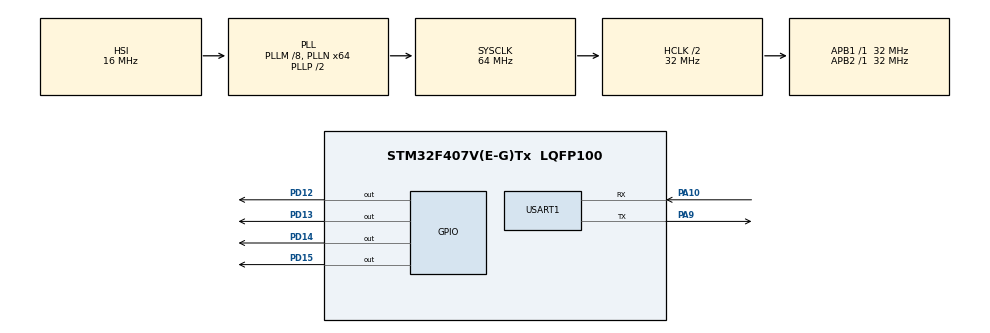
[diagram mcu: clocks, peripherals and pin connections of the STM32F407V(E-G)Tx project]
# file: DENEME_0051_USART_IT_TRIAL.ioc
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Mcu.Family=STM32F4
RCC.CortexFreq_Value=32000000
PA10.Mode=Asynchronous
RCC.SYSCLKSource=RCC_SYSCLKSOURCE_PLLCLK
ProjectManager.StackSize=0x400
PA13.Signal=SYS_JTMS-SWDIO
PD13.Signal=GPIO_Output
PA9.Mode=Asynchronous
ProjectManager.TargetToolchain=STM32CubeIDE
RCC.HCLKFreq_Value=32000000
RCC.APB2TimFreq_Value=32000000
PA9.Signal=USART1_TX
RCC.LSE_VALUE=32768
RCC.AHBFreq_Value=32000000
RCC.HSE_VALUE=25000000
board=custom
RCC.VCOOutputFreq_Value=128000000
RCC.APB2Freq_Value=32000000
PA14.Mode=Serial_Wire
RCC.AHBCLKDivider=RCC_SYSCLK_DIV2
PA13.Mode=Serial_Wire
Mcu.Name=STM32F407V(E-G)Tx
PD14.Signal=GPIO_Output
RCC.48MHZClocksFreq_Value=32000000
RCC.SYSCLKFreq_VALUE=64000000
Mcu.Package=LQFP100
PD12.Signal=GPIO_Output
USART1.VirtualMode=VM_ASYNC
PA10.Signal=USART1_RX
PA14.Signal=SYS_JTCK-SWCLK
ProjectManager.HeapSize=0x200
RCC.HSI_VALUE=16000000
NVIC.PriorityGroup=NVIC_PRIORITYGROUP_4
RCC.PLLM=8
RCC.PLLN=64
RCC.APB1TimFreq_Value=32000000
NVIC.USART1_IRQn=true\:4\:0\:true\:false\:true\:true\:true
RCC.APB1Freq_Value=32000000
PD15.Signal=GPIO_Output

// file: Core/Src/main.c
/* USER CODE BEGIN Header */
/**
  ******************************************************************************
  * @file           : main.c
  * @brief          : Main program body
  ******************************************************************************
  * @attention
  *
  * <h2><center>&copy; Copyright (c) 2022 STMicroelectronics.
  * All rights reserved.</center></h2>
  *
  * This software component is licensed by ST under BSD 3-Clause license,
  * the "License"; You may not use this file except in compliance with the
  * License. You may obtain a copy of the License at:
  *                        opensource.org/licenses/BSD-3-Clause
  *
  ******************************************************************************
  */
/* USER CODE END Header */
#include "main.h"

UART_HandleTypeDef huart1;

/* USER CODE BEGIN PV */
uint8_t rxTempBuffer[10];
uint8_t rxBuffer[100];
uint8_t rxCount = 0;

/* USER CODE END PV */

void SystemClock_Config(void);
static void MX_GPIO_Init(void);
static void MX_USART1_UART_Init(void);

/* USER CODE BEGIN 0 */
uint8_t i = 2 ;

__weak void HAL_UART_RxCpltCallback(UART_HandleTypeDef *huart)
{
	if(huart == &huart1)
	{
		rxBuffer[rxCount] = rxTempBuffer[0];
		rxCount++;
		HAL_UART_Receive_IT(&huart1, rxTempBuffer, 1);

		if ((rxBuffer[i] == 'l' ) && (rxBuffer[i-1] == 'i') && (rxBuffer[i-2] == 's'))
		{
			for(uint8_t temp = 0 ; i < sizeof(rxBuffer) ; temp++)
			{
				rxBuffer[temp] = '\0';
			}
		}
		else
		{
			if(!(rxBuffer[0] == '\0'))
			{
				i++ ;
			}
		}
		for(uint8_t temp = 2 ; temp < sizeof(rxBuffer) ; temp++)
		{
			if ((rxBuffer[temp] == 'l' ) && (rxBuffer[temp - 1] == 'i') && (rxBuffer[temp - 2] == 's'))
			{
				for(int j = 0 ; j < rxCount ; j++ )
				{
					rxBuffer[j] = '\0' ;
				}
				i = 2;
				rxCount = 0 ;
			}
		}
	}
}
/* USER CODE END 0 */

int main(void)
{

  /* MCU Configuration--------------------------------------------------------*/

  /* Reset of all peripherals, Initializes the Flash interface and the Systick. */
  HAL_Init();

  /* Configure the system clock */
  SystemClock_Config();

  /* Initialize all configured peripherals */
  MX_GPIO_Init();
  MX_USART1_UART_Init();
  /* USER CODE BEGIN 2 */
  HAL_UART_Receive_IT(&huart1, rxTempBuffer, 1);
  /* USER CODE END 2 */

  /* Infinite loop */
  while (1)
  {

  }
}

void SystemClock_Config(void)
{
  RCC_OscInitTypeDef RCC_OscInitStruct = {0};
  RCC_ClkInitTypeDef RCC_ClkInitStruct = {0};

  /** Configure the main internal regulator output voltage
  */
  __HAL_RCC_PWR_CLK_ENABLE();
  __HAL_PWR_VOLTAGESCALING_CONFIG(PWR_REGULATOR_VOLTAGE_SCALE1);
  /** Initializes the RCC Oscillators according to the specified parameters
  * in the RCC_OscInitTypeDef structure.
  */
  RCC_OscInitStruct.OscillatorType = RCC_OSCILLATORTYPE_HSI;
  RCC_OscInitStruct.HSIState = RCC_HSI_ON;
  RCC_OscInitStruct.HSICalibrationValue = RCC_HSICALIBRATION_DEFAULT;
  RCC_OscInitStruct.PLL.PLLState = RCC_PLL_ON;
  RCC_OscInitStruct.PLL.PLLSource = RCC_PLLSOURCE_HSI;
  RCC_OscInitStruct.PLL.PLLM = 8;
  RCC_OscInitStruct.PLL.PLLN = 64;
  RCC_OscInitStruct.PLL.PLLP = RCC_PLLP_DIV2;
  RCC_OscInitStruct.PLL.PLLQ = 4;
  if (HAL_RCC_OscConfig(&RCC_OscInitStruct) != HAL_OK)
  {
    Error_Handler();
  }
  /** Initializes the CPU, AHB and APB buses clocks
  */
  RCC_ClkInitStruct.ClockType = RCC_CLOCKTYPE_HCLK|RCC_CLOCKTYPE_SYSCLK
                              |RCC_CLOCKTYPE_PCLK1|RCC_CLOCKTYPE_PCLK2;
  RCC_ClkInitStruct.SYSCLKSource = RCC_SYSCLKSOURCE_PLLCLK;
  RCC_ClkInitStruct.AHBCLKDivider = RCC_SYSCLK_DIV2;
  RCC_ClkInitStruct.APB1CLKDivider = RCC_HCLK_DIV1;
  RCC_ClkInitStruct.APB2CLKDivider = RCC_HCLK_DIV1;

  if (HAL_RCC_ClockConfig(&RCC_ClkInitStruct, FLASH_LATENCY_1) != HAL_OK)
  {
    Error_Handler();
  }
}

static void MX_USART1_UART_Init(void)
{

  huart1.Instance = USART1;
  huart1.Init.BaudRate = 115200;
  huart1.Init.WordLength = UART_WORDLENGTH_8B;
  huart1.Init.StopBits = UART_STOPBITS_1;
  huart1.Init.Parity = UART_PARITY_NONE;
  huart1.Init.Mode = UART_MODE_TX_RX;
  huart1.Init.HwFlowCtl = UART_HWCONTROL_NONE;
  huart1.Init.OverSampling = UART_OVERSAMPLING_16;
  if (HAL_UART_Init(&huart1) != HAL_OK)
  {
    Error_Handler();
  }

}

static void MX_GPIO_Init(void)
{
  GPIO_InitTypeDef GPIO_InitStruct = {0};

  /* GPIO Ports Clock Enable */
  __HAL_RCC_GPIOD_CLK_ENABLE();
  __HAL_RCC_GPIOA_CLK_ENABLE();

  /*Configure GPIO pin Output Level */
  HAL_GPIO_WritePin(GPIOD, GPIO_PIN_12|GPIO_PIN_13|GPIO_PIN_14|GPIO_PIN_15, GPIO_PIN_RESET);

  /*Configure GPIO pins : PD12 PD13 PD14 PD15 */
  GPIO_InitStruct.Pin = GPIO_PIN_12|GPIO_PIN_13|GPIO_PIN_14|GPIO_PIN_15;
  GPIO_InitStruct.Mode = GPIO_MODE_OUTPUT_PP;
  GPIO_InitStruct.Pull = GPIO_NOPULL;
  GPIO_InitStruct.Speed = GPIO_SPEED_FREQ_LOW;
  HAL_GPIO_Init(GPIOD, &GPIO_InitStruct);

}

void Error_Handler(void)
{
  __disable_irq();
  while (1)
  {
  }
}

/************************ (C) COPYRIGHT STMicroelectronics *****END OF FILE****/
